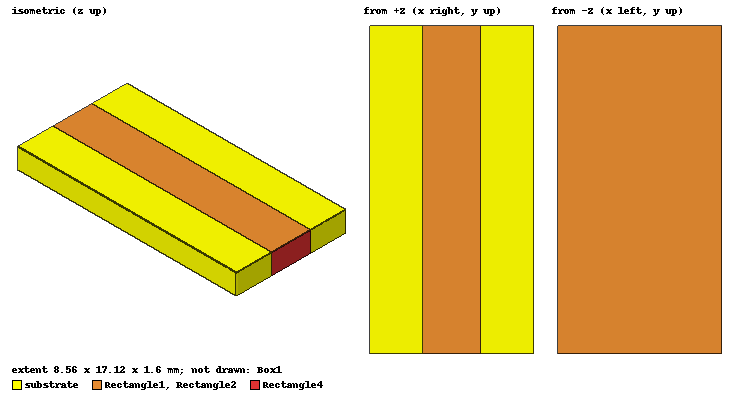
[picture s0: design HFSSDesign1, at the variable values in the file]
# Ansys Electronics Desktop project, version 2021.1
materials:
  vacuum: permittivity=1
  FR4_epoxy: permittivity=4.4 dielectric_loss_tangent=0.02

design HFSSDesign1 (HFSS, DrivenModal, model units mm)
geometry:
  substrate [FR4_epoxy] = box(corner=((-8.56/2) mm, (-17.12/2) mm, 0mm), size=(8.56mm, 17.12mm, 1.6mm))
  Rectangle1 = rectangle(corner=((-17.12/4) mm, (-17.12/2) mm, 0mm), x_size=(17.12/2) mm, y_size=17.12mm)
  Rectangle2 = rectangle(corner=((-3.05/2) mm, (-17.12/2) mm, 1.6mm), x_size=3.05mm, y_size=17.12mm)
  Rectangle3 = rectangle(corner=((-3.05/2) mm, (-17.12/2) mm, 1.6mm), z_size=-1.6mm, x_size=3.05mm)
  Rectangle4 = rectangle(corner=((3.05/2) mm, (17.12/2) mm, 1.6mm), z_size=-1.6mm, x_size=-3.05mm)
  Box1 [vacuum] = box(corner=((-17/2) mm, (-34/2) mm, (-17/2) mm), size=(17mm, 34mm, 17mm))
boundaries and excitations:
  Rad1: Radiation Objects=Box1
  PerfE1: Perfect E Objects=Rectangle1
  PerfE2: Perfect E Objects=Rectangle2
  1: Lumped Port Objects=Rectangle3 Modes{Mode1{IntLine{middle of Rectangle3.edge(z opposite corner) -> middle of Rectangle3.edge(z at corner)} CharImp=Zpi RenormImp=50ohm}} Impedance=50ohm
  2: Lumped Port Objects=Rectangle4 Modes{Mode1{IntLine{middle of Rectangle4.edge(z opposite corner) -> middle of Rectangle4.edge(z at corner)} CharImp=Zpi RenormImp=50ohm}} Impedance=50ohm
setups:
  Setup1: HfssDrivenAuto AutoSolverSetting=Balanced SaveAnyFields=false Type=Interpolating
    sweep Sweep: 3GHz to 8GHz, 501 points;
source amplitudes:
  1:1: 1W 0deg
  2:1: 0W 0deg
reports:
  S Parameter Plot 1: dB(S(1,1)), dB(S(2,1)), dB(S(1,2)), dB(S(2,2)) vs Freq on Setup1 : Sweep
